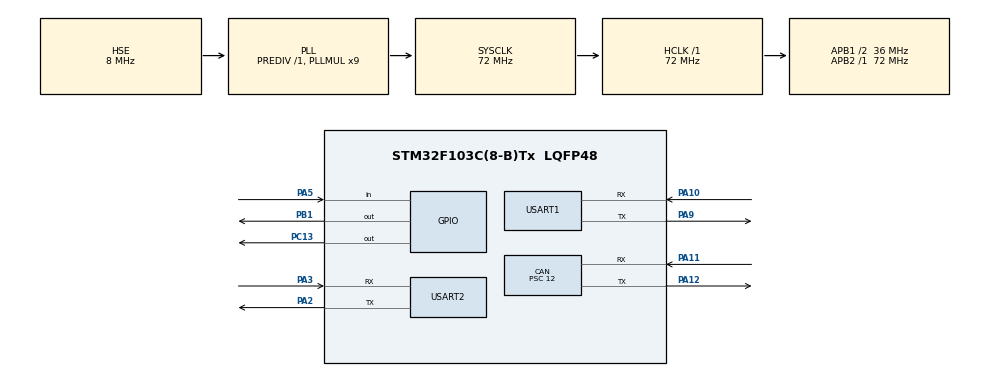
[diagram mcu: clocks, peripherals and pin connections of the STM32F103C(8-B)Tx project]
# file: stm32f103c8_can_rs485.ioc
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CAN.BS1=CAN_BS1_2TQ
CAN.BS2=CAN_BS2_3TQ
CAN.CalculateBaudRate=499999
CAN.CalculateTimeBit=2000
CAN.CalculateTimeQuantum=333.33333333333337
CAN.Mode=CAN_MODE_NORMAL
CAN.Prescaler=12
CAN.SJW=CAN_SJW_2TQ
FREERTOS.Queues01=myCANQueue,32,uint16_t,0,Dynamic,NULL,NULL
FREERTOS.Tasks01=defaultTask,24,128,StartDefaultTask,Default,NULL,Dynamic,NULL,NULL;myCANTask,40,256,CANTask,Default,NULL,Dynamic,NULL,NULL;myRS485Task,24,256,RS485Task,Default,NULL,Dynamic,NULL,NULL;myTestTask,8,128,TestTask,Default,NULL,Dynamic,NULL,NULL
FREERTOS.configTOTAL_HEAP_SIZE=4096
Mcu.Family=STM32F1
Mcu.Name=STM32F103C(8-B)Tx
Mcu.Package=LQFP48
NVIC.PriorityGroup=NVIC_PRIORITYGROUP_4
NVIC.TIM1_UP_IRQn=true\:15\:0\:false\:false\:true\:false\:false\:true\:true
NVIC.TimeBase=TIM1_UP_IRQn
NVIC.TimeBaseIP=TIM1
NVIC.USB_LP_CAN1_RX0_IRQn=true\:5\:0\:false\:false\:true\:true\:true\:true\:true
PA10.Mode=Asynchronous
PA10.Signal=USART1_RX
PA11.Mode=CAN_Activate
PA11.Signal=CAN_RX
PA12.Mode=CAN_Activate
PA12.Signal=CAN_TX
PA13.Mode=Serial_Wire
PA13.Signal=SYS_JTMS-SWDIO
PA14.Mode=Serial_Wire
PA14.Signal=SYS_JTCK-SWCLK
PA2.Mode=Asynchronous
PA2.Signal=USART2_TX
PA3.Mode=Asynchronous
PA3.Signal=USART2_RX
PA5.GPIO_Mode=GPIO_MODE_INPUT
PA5.GPIO_PuPd=GPIO_PULLUP
PA5.Signal=GPIO_Input
PA9.Mode=Asynchronous
PA9.Signal=USART1_TX
PB1.GPIO_PuPd=GPIO_NOPULL
PB1.PinState=GPIO_PIN_SET
PB1.Signal=GPIO_Output
PC13-TAMPER-RTC.Signal=GPIO_Output
PD0-OSC_IN.Mode=HSE-External-Oscillator
PD0-OSC_IN.Signal=RCC_OSC_IN
PD1-OSC_OUT.Mode=HSE-External-Oscillator
PD1-OSC_OUT.Signal=RCC_OSC_OUT
ProjectManager.HeapSize=0x200
ProjectManager.StackSize=0x400
ProjectManager.TargetToolchain=MDK-ARM V5.32
RCC.AHBFreq_Value=72000000
RCC.APB1CLKDivider=RCC_HCLK_DIV2
RCC.APB1Freq_Value=36000000
RCC.APB1TimFreq_Value=72000000
RCC.APB2Freq_Value=72000000
RCC.APB2TimFreq_Value=72000000
RCC.HCLKFreq_Value=72000000
RCC.PLLMUL=RCC_PLL_MUL9
RCC.PLLSourceVirtual=RCC_PLLSOURCE_HSE
RCC.SYSCLKFreq_VALUE=72000000
RCC.SYSCLKSource=RCC_SYSCLKSOURCE_PLLCLK
RCC.USBFreq_Value=72000000
USART1.VirtualMode=VM_ASYNC
USART2.VirtualMode=VM_ASYNC
VP_FREERTOS_VS_CMSIS_V2.Mode=CMSIS_V2
VP_SYS_VS_tim1.Mode=TIM1
board=custom

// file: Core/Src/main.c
/* USER CODE BEGIN Header */
/**
  ******************************************************************************
  * @file           : main.c
  * @brief          : Main program body
  ******************************************************************************
  * @attention
  *
  * Copyright (c) 2026 STMicroelectronics.
  * All rights reserved.
  *
  * This software is licensed under terms that can be found in the LICENSE file
  * in the root directory of this software component.
  * If no LICENSE file comes with this software, it is provided AS-IS.
  *
  ******************************************************************************
  */
/* USER CODE END Header */
#include "main.h"
#include "cmsis_os.h"

/* USER CODE BEGIN Includes */
#include "MYCAN.h"
/* USER CODE END Includes */

CAN_HandleTypeDef hcan;

UART_HandleTypeDef huart1;
UART_HandleTypeDef huart2;

/* Definitions for defaultTask */
osThreadId_t defaultTaskHandle;
const osThreadAttr_t defaultTask_attributes = {
  .name = "defaultTask",
  .stack_size = 128 * 4,
  .priority = (osPriority_t) osPriorityNormal,
};
/* Definitions for myCANTask */
osThreadId_t myCANTaskHandle;
const osThreadAttr_t myCANTask_attributes = {
  .name = "myCANTask",
  .stack_size = 256 * 4,
  .priority = (osPriority_t) osPriorityHigh,
};
/* Definitions for myRS485Task */
osThreadId_t myRS485TaskHandle;
const osThreadAttr_t myRS485Task_attributes = {
  .name = "myRS485Task",
  .stack_size = 256 * 4,
  .priority = (osPriority_t) osPriorityNormal,
};
/* Definitions for myTestTask */
osThreadId_t myTestTaskHandle;
const osThreadAttr_t myTestTask_attributes = {
  .name = "myTestTask",
  .stack_size = 128 * 4,
  .priority = (osPriority_t) osPriorityLow,
};
/* Definitions for myCANQueue */
osMessageQueueId_t myCANQueueHandle;
const osMessageQueueAttr_t myCANQueue_attributes = {
  .name = "myCANQueue"
};

void SystemClock_Config(void);
static void MX_GPIO_Init(void);
static void MX_USART1_UART_Init(void);
static void MX_CAN_Init(void);
static void MX_USART2_UART_Init(void);
void StartDefaultTask(void *argument);
void CANTask(void *argument);
void RS485Task(void *argument);
void TestTask(void *argument);

int main(void)
{

  /* MCU Configuration--------------------------------------------------------*/

  /* Reset of all peripherals, Initializes the Flash interface and the Systick. */
  HAL_Init();

  /* Configure the system clock */
  SystemClock_Config();

  /* Initialize all configured peripherals */
  MX_GPIO_Init();
  MX_USART1_UART_Init();
  MX_CAN_Init();
  MX_USART2_UART_Init();
  /* USER CODE BEGIN 2 */

	HAL_CAN_ActivateNotification(&hcan, CAN_IT_RX_FIFO0_MSG_PENDING);
	HAL_CAN_Start(&hcan);

	HAL_NVIC_SetPriority(CAN1_RX0_IRQn, 6, 0);
	HAL_NVIC_EnableIRQ(CAN1_RX0_IRQn);
  /* USER CODE END 2 */

  /* Init scheduler */
  osKernelInitialize();

  /* Create the queue(s) */
  /* creation of myCANQueue */
  myCANQueueHandle = osMessageQueueNew (32, sizeof(uint16_t), &myCANQueue_attributes);

  /* Create the thread(s) */
  /* creation of defaultTask */
  defaultTaskHandle = osThreadNew(StartDefaultTask, NULL, &defaultTask_attributes);

  /* creation of myCANTask */
  myCANTaskHandle = osThreadNew(CANTask, NULL, &myCANTask_attributes);

  /* creation of myRS485Task */
  myRS485TaskHandle = osThreadNew(RS485Task, NULL, &myRS485Task_attributes);

  /* creation of myTestTask */
  myTestTaskHandle = osThreadNew(TestTask, NULL, &myTestTask_attributes);

  /* Start scheduler */
  osKernelStart();

  /* We should never get here as control is now taken by the scheduler */

  /* Infinite loop */
  while (1)
  {

  }
}

void SystemClock_Config(void)
{
  RCC_OscInitTypeDef RCC_OscInitStruct = {0};
  RCC_ClkInitTypeDef RCC_ClkInitStruct = {0};

  /** Initializes the RCC Oscillators according to the specified parameters
  * in the RCC_OscInitTypeDef structure.
  */
  RCC_OscInitStruct.OscillatorType = RCC_OSCILLATORTYPE_HSE;
  RCC_OscInitStruct.HSEState = RCC_HSE_ON;
  RCC_OscInitStruct.HSEPredivValue = RCC_HSE_PREDIV_DIV1;
  RCC_OscInitStruct.HSIState = RCC_HSI_ON;
  RCC_OscInitStruct.PLL.PLLState = RCC_PLL_ON;
  RCC_OscInitStruct.PLL.PLLSource = RCC_PLLSOURCE_HSE;
  RCC_OscInitStruct.PLL.PLLMUL = RCC_PLL_MUL9;
  if (HAL_RCC_OscConfig(&RCC_OscInitStruct) != HAL_OK)
  {
    Error_Handler();
  }

  /** Initializes the CPU, AHB and APB buses clocks
  */
  RCC_ClkInitStruct.ClockType = RCC_CLOCKTYPE_HCLK|RCC_CLOCKTYPE_SYSCLK
                              |RCC_CLOCKTYPE_PCLK1|RCC_CLOCKTYPE_PCLK2;
  RCC_ClkInitStruct.SYSCLKSource = RCC_SYSCLKSOURCE_PLLCLK;
  RCC_ClkInitStruct.AHBCLKDivider = RCC_SYSCLK_DIV1;
  RCC_ClkInitStruct.APB1CLKDivider = RCC_HCLK_DIV2;
  RCC_ClkInitStruct.APB2CLKDivider = RCC_HCLK_DIV1;

  if (HAL_RCC_ClockConfig(&RCC_ClkInitStruct, FLASH_LATENCY_2) != HAL_OK)
  {
    Error_Handler();
  }
}

static void MX_CAN_Init(void)
{

  /* USER CODE BEGIN CAN_Init 0 */
	 __HAL_RCC_CAN1_CLK_ENABLE();
  /* USER CODE END CAN_Init 0 */

  hcan.Instance = CAN1;
  hcan.Init.Prescaler = 12;
  hcan.Init.Mode = CAN_MODE_NORMAL;
  hcan.Init.SyncJumpWidth = CAN_SJW_2TQ;
  hcan.Init.TimeSeg1 = CAN_BS1_2TQ;
  hcan.Init.TimeSeg2 = CAN_BS2_3TQ;
  hcan.Init.TimeTriggeredMode = DISABLE;
  hcan.Init.AutoBusOff = DISABLE;
  hcan.Init.AutoWakeUp = DISABLE;
  hcan.Init.AutoRetransmission = DISABLE;
  hcan.Init.ReceiveFifoLocked = DISABLE;
  hcan.Init.TransmitFifoPriority = DISABLE;
  if (HAL_CAN_Init(&hcan) != HAL_OK)
  {
    Error_Handler();
  }
  /* USER CODE BEGIN CAN_Init 2 */
	CAN_FilterTypeDef sFilterConfig;

	sFilterConfig.FilterBank = 0;
	sFilterConfig.FilterMode = CAN_FILTERMODE_IDMASK;
	sFilterConfig.FilterScale = CAN_FILTERSCALE_32BIT;
	sFilterConfig.FilterFIFOAssignment = CAN_RX_FIFO0;

	sFilterConfig.FilterIdHigh = 0x0000;
	sFilterConfig.FilterIdLow = 0x0000;
	sFilterConfig.FilterMaskIdHigh = 0x0000;
	sFilterConfig.FilterMaskIdLow = 0x0000;

	sFilterConfig.FilterActivation = CAN_FILTER_ENABLE;
	sFilterConfig.SlaveStartFilterBank = 14;

	if (HAL_CAN_ConfigFilter(&hcan, &sFilterConfig) != HAL_OK)
	{
			Error_Handler();
	}
  /* USER CODE END CAN_Init 2 */

}

static void MX_USART1_UART_Init(void)
{

  huart1.Instance = USART1;
  huart1.Init.BaudRate = 115200;
  huart1.Init.WordLength = UART_WORDLENGTH_8B;
  huart1.Init.StopBits = UART_STOPBITS_1;
  huart1.Init.Parity = UART_PARITY_NONE;
  huart1.Init.Mode = UART_MODE_TX_RX;
  huart1.Init.HwFlowCtl = UART_HWCONTROL_NONE;
  huart1.Init.OverSampling = UART_OVERSAMPLING_16;
  if (HAL_UART_Init(&huart1) != HAL_OK)
  {
    Error_Handler();
  }

}

static void MX_USART2_UART_Init(void)
{

  huart2.Instance = USART2;
  huart2.Init.BaudRate = 115200;
  huart2.Init.WordLength = UART_WORDLENGTH_8B;
  huart2.Init.StopBits = UART_STOPBITS_1;
  huart2.Init.Parity = UART_PARITY_NONE;
  huart2.Init.Mode = UART_MODE_TX_RX;
  huart2.Init.HwFlowCtl = UART_HWCONTROL_NONE;
  huart2.Init.OverSampling = UART_OVERSAMPLING_16;
  if (HAL_UART_Init(&huart2) != HAL_OK)
  {
    Error_Handler();
  }

}

static void MX_GPIO_Init(void)
{
  GPIO_InitTypeDef GPIO_InitStruct = {0};

  /* GPIO Ports Clock Enable */
  __HAL_RCC_GPIOC_CLK_ENABLE();
  __HAL_RCC_GPIOD_CLK_ENABLE();
  __HAL_RCC_GPIOA_CLK_ENABLE();
  __HAL_RCC_GPIOB_CLK_ENABLE();

  /*Configure GPIO pin Output Level */
  HAL_GPIO_WritePin(GPIOC, GPIO_PIN_13, GPIO_PIN_RESET);

  /*Configure GPIO pin Output Level */
  HAL_GPIO_WritePin(GPIOB, GPIO_PIN_1, GPIO_PIN_SET);

  /*Configure GPIO pin : PC13 */
  GPIO_InitStruct.Pin = GPIO_PIN_13;
  GPIO_InitStruct.Mode = GPIO_MODE_OUTPUT_PP;
  GPIO_InitStruct.Pull = GPIO_NOPULL;
  GPIO_InitStruct.Speed = GPIO_SPEED_FREQ_LOW;
  HAL_GPIO_Init(GPIOC, &GPIO_InitStruct);

  /*Configure GPIO pin : PA5 */
  GPIO_InitStruct.Pin = GPIO_PIN_5;
  GPIO_InitStruct.Mode = GPIO_MODE_INPUT;
  GPIO_InitStruct.Pull = GPIO_PULLUP;
  HAL_GPIO_Init(GPIOA, &GPIO_InitStruct);

  /*Configure GPIO pin : PB1 */
  GPIO_InitStruct.Pin = GPIO_PIN_1;
  GPIO_InitStruct.Mode = GPIO_MODE_OUTPUT_PP;
  GPIO_InitStruct.Pull = GPIO_NOPULL;
  GPIO_InitStruct.Speed = GPIO_SPEED_FREQ_LOW;
  HAL_GPIO_Init(GPIOB, &GPIO_InitStruct);

}

void StartDefaultTask(void *argument)
{
  for(;;)
  {
    osDelay(1);
  }
}

void CANTask(void *argument)
{
  /* USER CODE BEGIN CANTask */
  /* Infinite loop */
  for(;;)
  {
		canDataProcessTask();
    osDelay(10);
  }
  /* USER CODE END CANTask */
}

void RS485Task(void *argument)
{
  /* USER CODE BEGIN RS485Task */
  /* Infinite loop */
  for(;;)
  {
		send_485();
    osDelay(1);
  }
  /* USER CODE END RS485Task */
}

void TestTask(void *argument)
{
  /* USER CODE BEGIN TestTask */
  /* Infinite loop */
  for(;;)
  {

    osDelay(100);
  }
  /* USER CODE END TestTask */
}

void HAL_TIM_PeriodElapsedCallback(TIM_HandleTypeDef *htim)
{
  if (htim->Instance == TIM1)
  {
    HAL_IncTick();
  }
}

void Error_Handler(void)
{
  __disable_irq();
  while (1)
  {
  }
}
